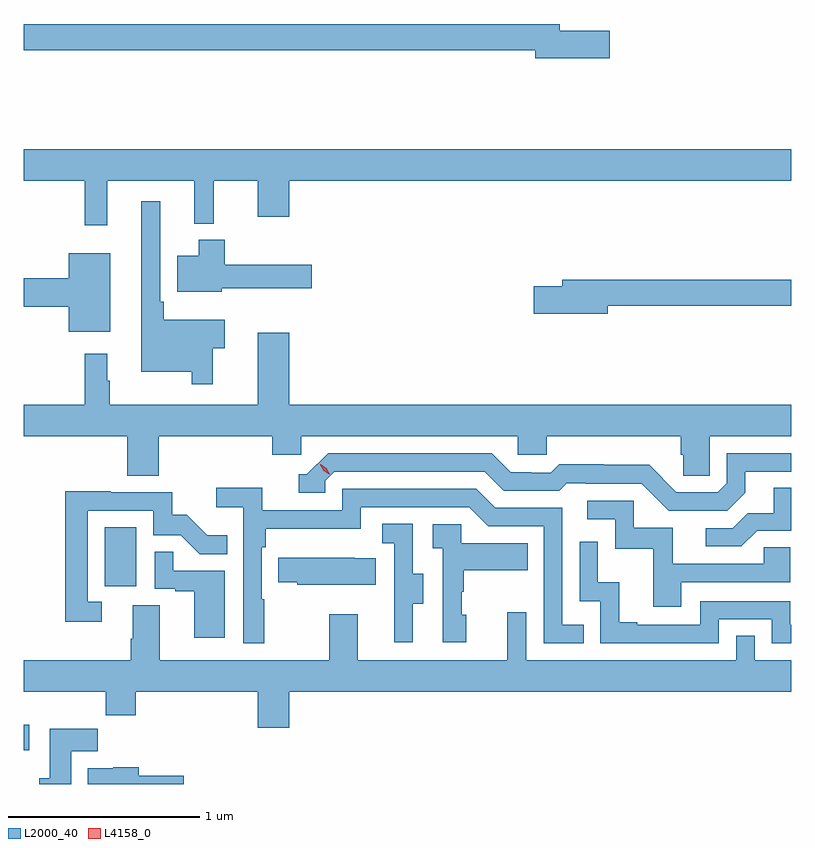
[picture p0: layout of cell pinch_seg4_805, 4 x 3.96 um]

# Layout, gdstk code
import gdstk
lib = gdstk.Library(unit=1e-6, precision=1e-09)
def R(c, l, rs):  # rectangles x0, y0, x1, y1
    for r in rs: c.add(gdstk.rectangle(r[:2], r[2:], *l))
def P(c, l, *ps):  # polygons
    for p in ps: c.add(gdstk.Polygon(p, *l))
L2000_40 = (2000, 40)
L4158_0 = (4158, 0)

pinch_seg4_805 = lib.new_cell('pinch_seg4_805')
R(pinch_seg4_805, L2000_40, [(811.141,792.518,811.168,792.652), (811.562,793.374,811.726,793.681)])
P(pinch_seg4_805, L2000_40, [(814.195,796.268),(813.934,796.268),(813.934,796.304),(811.141,796.304),(811.141,796.168),(813.806,796.168),(813.806,796.126),(814.195,796.126)],
  [(811.577,795.488),(812.03,795.488),(812.03,795.263),(812.13,795.263),(812.13,795.488),(812.36,795.488),(812.36,795.3),(812.524,795.3),(812.524,795.488),(815.141,795.488),(815.141,795.652),(811.141,795.652),(811.141,795.488),(811.459,795.488),(811.459,795.255),(811.577,795.255)],
  [(812.127,794.614),(812.188,794.614),(812.188,794.761),(811.871,794.761),(811.871,794.857),(811.851,794.857),(811.851,795.379),(811.754,795.379),(811.754,794.492),(812.016,794.492),(812.016,794.427),(812.127,794.427)],
  [(812.172,794.927),(812.641,794.927),(812.641,795.049),(812.189,795.049),(812.189,795.178),(812.054,795.178),(812.054,795.097),(811.94,795.097),(811.94,794.909),(812.172,794.909)],
  [(811.591,795.109),(811.376,795.109),(811.376,794.978),(811.141,794.978),(811.141,794.831),(811.376,794.831),(811.376,794.699),(811.591,794.699)],
  [(814.186,794.836),(815.141,794.836),(815.141,794.972),(813.947,794.972),(813.947,794.936),(813.798,794.936),(813.798,794.794),(814.186,794.794)],
  [(811.844,794.156),(812.435,794.156),(812.435,794.058),(812.586,794.058),(812.586,794.156),(813.717,794.156),(813.717,794.058),(813.867,794.058),(813.867,794.156),(814.565,794.156),(814.565,794.058),(814.579,794.058),(814.579,793.948),(814.716,793.948),(814.716,794.156),(815.141,794.156),(815.141,794.32),(812.524,794.32),(812.524,794.695),(812.36,794.695),(812.36,794.32),(811.588,794.32),(811.588,794.444),(811.576,794.444),(811.576,794.584),(811.459,794.584),(811.459,794.32),(811.141,794.32),(811.141,794.156),(811.679,794.156),(811.679,793.948),(811.844,793.948)],
  [(814.903,793.861),(814.903,793.971),(815.141,793.971),(815.141,794.067),(814.806,794.067),(814.806,793.911),(814.758,793.863),(814.542,793.863),(814.4,794.005),(814.164,794.005),(814.164,794.008),(813.931,794.008),(813.889,793.965),(813.786,793.965),(813.786,793.968),(813.679,793.968),(813.58,794.067),(812.727,794.067),(812.616,793.956),(812.573,793.956),(812.573,793.86),(812.712,793.86),(812.712,793.923),(812.76,793.971),(813.543,793.971),(813.642,793.872),(813.931,793.872),(813.97,793.911),(814.069,793.911),(814.069,793.908),(814.362,793.908),(814.503,793.767),(814.809,793.767)],
  [(814.963,793.662),(815.141,793.662),(815.141,793.886),(815.051,793.886),(815.051,793.754),(814.916,793.754),(814.836,793.674),(814.695,793.674),(814.695,793.581),(814.882,793.581)],
  [(812.395,793.304),(812.382,793.304),(812.382,793.577),(812.402,793.577),(812.402,793.673),(812.898,793.673),(812.898,793.785),(813.462,793.785),(813.561,793.686),(813.852,793.686),(813.852,793.077),(814.061,793.077),(814.061,793.173),(813.948,793.173),(813.948,793.782),(813.598,793.782),(813.499,793.881),(812.802,793.881),(812.802,793.77),(812.384,793.77),(812.384,793.886),(812.145,793.886),(812.145,793.784),(812.286,793.784),(812.286,793.077),(812.395,793.077)],
  [(811.546,793.293),(811.473,793.293),(811.473,793.767),(811.815,793.767),(811.815,793.638),(811.959,793.638),(812.057,793.54),(812.201,793.54),(812.201,793.639),(812.097,793.639),(811.99,793.746),(811.914,793.746),(811.914,793.863),(811.595,793.863),(811.595,793.868),(811.357,793.868),(811.357,793.188),(811.546,793.188)],
  [(814.567,793.395),(815.136,793.395),(815.136,793.575),(814.999,793.575),(814.999,793.491),(814.525,793.491),(814.525,793.677),(814.32,793.677),(814.32,793.818),(814.077,793.818),(814.077,793.722),(814.224,793.722),(814.224,793.569),(814.423,793.569),(814.423,793.266),(814.567,793.266)],
  [(813.169,793.282),(813.223,793.282),(813.223,793.437),(813.168,793.437),(813.168,793.7),(813.009,793.7),(813.009,793.597),(813.072,793.597),(813.072,793.293),(813.071,793.293),(813.071,793.08),(813.169,793.08)],
  [(813.448,793.224),(813.423,793.224),(813.423,793.343),(813.433,793.343),(813.433,793.457),(813.767,793.457),(813.767,793.597),(813.42,793.597),(813.42,793.695),(813.273,793.695),(813.273,793.571),(813.324,793.571),(813.324,793.08),(813.448,793.08)],
  [(814.764,793.2),(815.04,793.2),(815.04,793.077),(815.141,793.077),(815.141,793.173),(815.136,793.173),(815.136,793.296),(814.668,793.296),(814.668,793.173),(814.339,793.173),(814.339,793.186),(814.244,793.186),(814.244,793.394),(814.134,793.394),(814.134,793.606),(814.038,793.606),(814.038,793.296),(814.146,793.296),(814.146,793.077),(814.764,793.077)],
  [(812.188,793.455),(811.919,793.455),(811.919,793.553),(811.824,793.553),(811.824,793.359),(811.931,793.359),(811.931,793.347),(812.03,793.347),(812.03,793.104),(812.188,793.104)],
  [(812.975,793.519),(812.867,793.519),(812.867,793.522),(812.467,793.522),(812.467,793.393),(812.565,793.393),(812.565,793.382),(812.975,793.382)],
  [(812.524,792.824),(815.141,792.824),(815.141,792.988),(814.95,792.988),(814.95,793.115),(814.854,793.115),(814.854,792.988),(813.759,792.988),(813.759,793.237),(813.662,793.237),(813.662,792.988),(812.881,792.988),(812.881,793.228),(812.734,793.228),(812.734,792.988),(811.849,792.988),(811.849,793.274),(811.709,793.274),(811.709,793.1),(811.697,793.1),(811.697,792.988),(811.141,792.988),(811.141,792.824),(811.567,792.824),(811.567,792.7),(811.724,792.7),(811.724,792.824),(812.36,792.824),(812.36,792.636),(812.524,792.636)],
  [(811.387,792.512),(811.526,792.512),(811.526,792.631),(811.277,792.631),(811.277,792.372),(811.22,792.372),(811.22,792.342),(811.387,792.342)],
  [(811.975,792.384),(811.739,792.384),(811.739,792.43),(811.608,792.43),(811.608,792.424),(811.475,792.424),(811.475,792.342),(811.975,792.342)])
P(pinch_seg4_805, L4158_0, [(812.734,793.956),(812.704,793.975),(812.687,794.007),(812.687,794.008),(812.688,794.008),(812.718,793.989),(812.735,793.956),(812.735,793.956)])

lib.write_gds('pinch_seg4_805.gds')
